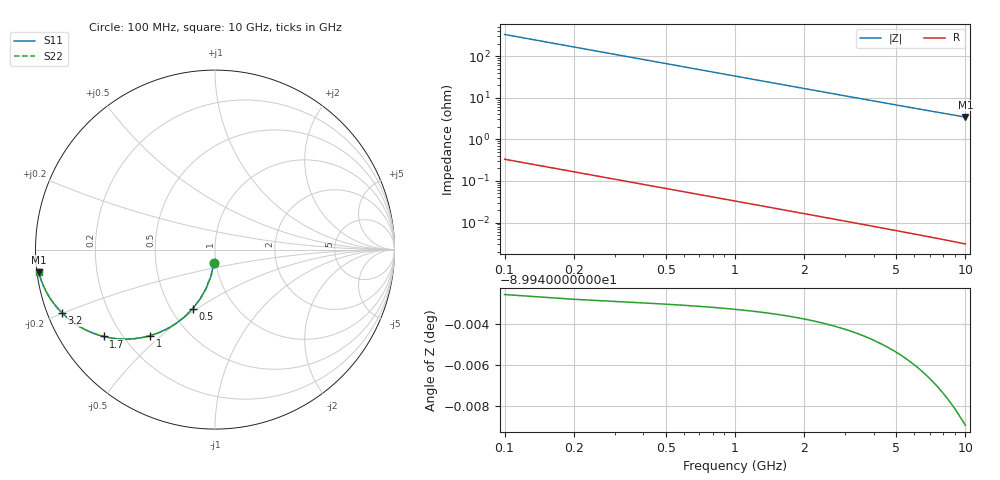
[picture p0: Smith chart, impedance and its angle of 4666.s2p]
# Hz S RI R 50.00
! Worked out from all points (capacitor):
!   100 points, 100 MHz to 10 GHz, reference 50 ohm
!   read as one part in shunt: C = 4.8 pF near 100 MHz
!   lowest |Z| = 3.43 ohm at 10 GHz (marker M1)
!   S11 on the Smith chart (normalised r, x): 100 MHz: 0.98, -0.15; 500 MHz: 0.64, -0.48; 1 GHz: 0.31, -0.46; 1.7 GHz: 0.13, -0.34; 3.2 GHz: 0.04, -0.20; 10 GHz: 0.00, -0.06
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1e8  -0.0057 -0.0748  0.9943 -0.0749  0.9943 -0.0749  -0.0057 -0.0748
2e8  -0.0223 -0.1472  0.9777 -0.1474  0.9777 -0.1474  -0.0223 -0.1472
3e8  -0.0488 -0.2148  0.9512 -0.215  0.9512 -0.215  -0.0488 -0.2148
4e8  -0.0834 -0.2759  0.9165 -0.2762  0.9165 -0.2762  -0.0834 -0.2759
5e8  -0.1244 -0.3294  0.8755 -0.3298  0.8755 -0.3298  -0.1244 -0.3294
6e8  -0.1698 -0.3747  0.8302 -0.3752  0.8302 -0.3752  -0.1698 -0.3747
7e8  -0.2177 -0.4119  0.7823 -0.4125  0.7823 -0.4125  -0.2177 -0.4119
8e8  -0.2665 -0.4413  0.7335 -0.442  0.7335 -0.442  -0.2665 -0.4413
1e9  -0.3619 -0.4796  0.6381 -0.4805  0.6381 -0.4805  -0.3619 -0.4796
1.3e9  -0.4892 -0.4988  0.5108 -0.5  0.5108 -0.5  -0.4892 -0.4988
1.7e9  -0.6206 -0.484  0.3794 -0.4855  0.3794 -0.4855  -0.6206 -0.484
1.8e9  -0.647 -0.4766  0.3529 -0.4782  0.3529 -0.4782  -0.647 -0.4766
2.1e9  -0.7137 -0.4506  0.2863 -0.4525  0.2863 -0.4525  -0.7137 -0.4506
2.4e9  -0.7649 -0.4225  0.2351 -0.4246  0.2351 -0.4246  -0.7649 -0.4225
2.8e9  -0.8156 -0.386  0.1843 -0.3885  0.1843 -0.3885  -0.8156 -0.386
3.2e9  -0.8524 -0.3528  0.1476 -0.3557  0.1476 -0.3557  -0.8524 -0.3528
3.4e9  -0.8669 -0.3376  0.133 -0.3407  0.133 -0.3407  -0.8669 -0.3376
4.2e9  -0.9085 -0.2859  0.0915 -0.2897  0.0915 -0.2897  -0.9085 -0.2859
5.1e9  -0.936 -0.2419  0.064 -0.2466  0.064 -0.2466  -0.936 -0.2419
6.7e9  -0.9619 -0.1879  0.0381 -0.1941  0.0381 -0.1941  -0.9619 -0.1879
8.4e9  -0.9754 -0.1504  0.0245 -0.1582  0.0245 -0.1582  -0.9754 -0.1504
1e10  -0.9826 -0.1256  0.0174 -0.1349  0.0174 -0.1349  -0.9826 -0.1256
